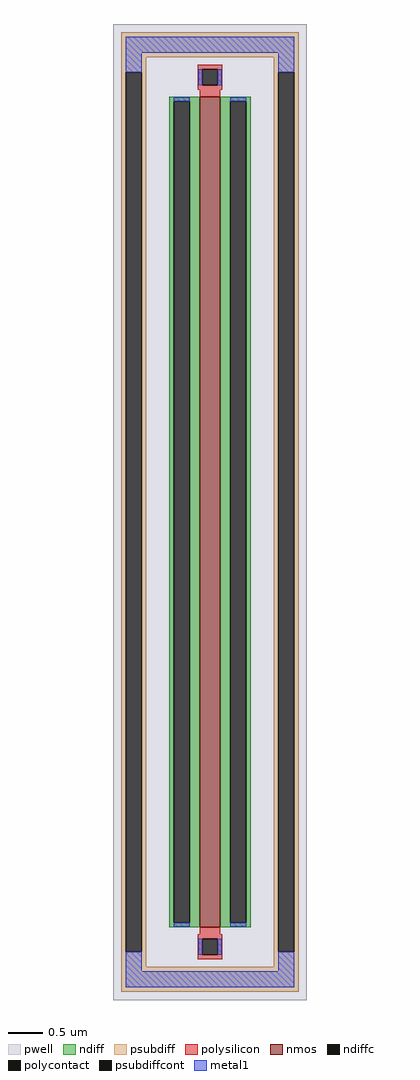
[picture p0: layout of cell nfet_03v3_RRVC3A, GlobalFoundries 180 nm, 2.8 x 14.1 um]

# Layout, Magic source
magic
tech gf180mcuD
magscale 1 10
<< pwell >>
rect -280 -1410 280 1410
<< nmos >>
rect -30 -1200 30 1200
<< ndiff >>
rect -118 1187 -30 1200
rect -118 -1187 -105 1187
rect -59 -1187 -30 1187
rect -118 -1200 -30 -1187
rect 30 1187 118 1200
rect 30 -1187 59 1187
rect 105 -1187 118 1187
rect 30 -1200 118 -1187
<< ndiffc >>
rect -105 -1187 -59 1187
rect 59 -1187 105 1187
<< psubdiff >>
rect -256 1314 256 1386
rect -256 1270 -184 1314
rect -256 -1270 -243 1270
rect -197 -1270 -184 1270
rect 184 1270 256 1314
rect -256 -1314 -184 -1270
rect 184 -1270 197 1270
rect 243 -1270 256 1270
rect 184 -1314 256 -1270
rect -256 -1386 256 -1314
<< psubdiffcont >>
rect -243 -1270 -197 1270
rect 197 -1270 243 1270
<< polysilicon >>
rect -36 1279 36 1292
rect -36 1233 -23 1279
rect 23 1233 36 1279
rect -36 1220 36 1233
rect -30 1200 30 1220
rect -30 -1220 30 -1200
rect -36 -1233 36 -1220
rect -36 -1279 -23 -1233
rect 23 -1279 36 -1233
rect -36 -1292 36 -1279
<< polycontact >>
rect -23 1233 23 1279
rect -23 -1279 23 -1233
<< metal1 >>
rect -243 1327 243 1373
rect -243 1270 -197 1327
rect -34 1233 -23 1279
rect 23 1233 34 1279
rect 197 1270 243 1327
rect -105 1187 -59 1198
rect -105 -1198 -59 -1187
rect 59 1187 105 1198
rect 59 -1198 105 -1187
rect -243 -1327 -197 -1270
rect -34 -1279 -23 -1233
rect 23 -1279 34 -1233
rect 197 -1327 243 -1270
rect -243 -1373 243 -1327
<< properties >>
string FIXED_BBOX -220 -1350 220 1350
string gencell nfet_03v3
string library gf180mcu
string parameters w 12.0 l 0.3 m 1 nf 1 diffcov 100 polycov 100 guard 1 glc 1 grc 1 gtc 0 gbc 0 tbcov 100 rlcov 100 topc 1 botc 1 poverlap 0 doverlap 1 lmin 0.28 wmin 0.22 class mosfet full_metal 1 compatible {nfet_03v3 nfet_05v0 nfet_06v0 nfet_06v0_nvt} ad {int((nf+1)/2) * W/nf * 0.18u} as {int((nf+2)/2) * W/nf * 0.18u} pd {2*int((nf+1)/2) * (W/nf + 0.18u)} ps {2*int((nf+2)/2) * (W/nf + 0.18u)} nrd {0.18u / W} nrs {0.18u / W} sa 0 sb 0 sd 0
<< end >>
